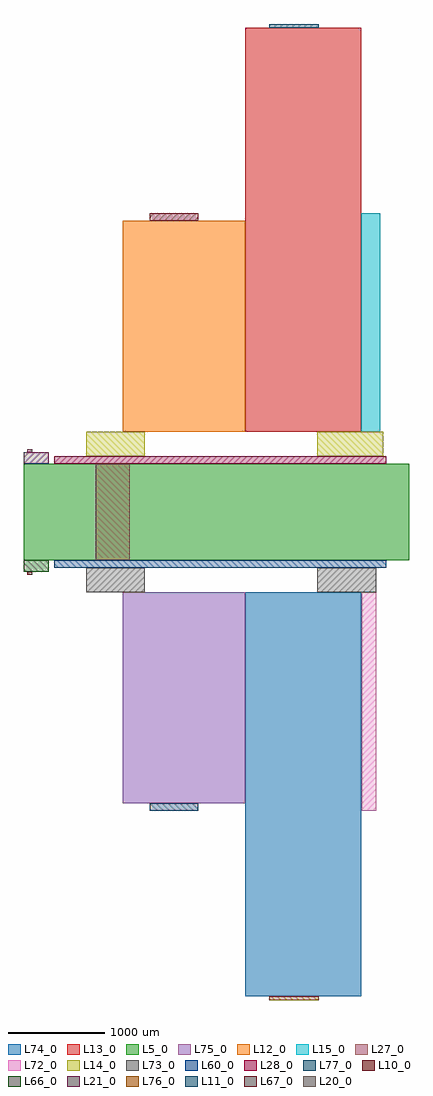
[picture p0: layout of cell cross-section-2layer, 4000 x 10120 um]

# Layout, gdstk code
import gdstk
lib = gdstk.Library(unit=1e-6, precision=1e-09)
def R(c, l, rs):  # rectangles x0, y0, x1, y1
    for r in rs: c.add(gdstk.rectangle(r[:2], r[2:], *l))
L5_0 = (5, 0)
L10_0 = (10, 0)
L11_0 = (11, 0)
L12_0 = (12, 0)
L13_0 = (13, 0)
L14_0 = (14, 0)
L15_0 = (15, 0)
L20_0 = (20, 0)
L21_0 = (21, 0)
L27_0 = (27, 0)
L28_0 = (28, 0)
L60_0 = (60, 0)
L66_0 = (66, 0)
L67_0 = (67, 0)
L72_0 = (72, 0)
L73_0 = (73, 0)
L74_0 = (74, 0)
L75_0 = (75, 0)
L76_0 = (76, 0)
L77_0 = (77, 0)

cross_section_2layer = lib.new_cell('cross-section-2layer')
R(cross_section_2layer, L5_0, [(0,-1000,4000,0)])
R(cross_section_2layer, L10_0, [(1308,2520,1810,2600)])
R(cross_section_2layer, L11_0, [(2548.3,4520,3060,4560)])
R(cross_section_2layer, L12_0, [(1030.25,330,2300,2520)])
R(cross_section_2layer, L13_0, [(2300,330,3500,4520)])
R(cross_section_2layer, L14_0, [(647.1,80,1257.1,330), (3047.1,80,3727.1,330)])
R(cross_section_2layer, L15_0, [(3500,330,3700,2600)])
R(cross_section_2layer, L20_0, [(40,120,89.95,150)])
R(cross_section_2layer, L21_0, [(0,0,260,120)])
R(cross_section_2layer, L27_0, [(750,-1000,1100,0)])
R(cross_section_2layer, L28_0, [(320,0,3760,80)])
R(cross_section_2layer, L60_0, [(320,-1080,3760,-1000)])
R(cross_section_2layer, L66_0, [(0,-1120,260,-1000)])
R(cross_section_2layer, L67_0, [(40,-1150,89.95,-1120)])
R(cross_section_2layer, L72_0, [(3507.1,-3596.2,3657.1,-1330)])
R(cross_section_2layer, L73_0, [(647.1,-1330,1257.1,-1080), (3047.1,-1330,3657.1,-1080)])
R(cross_section_2layer, L74_0, [(2300,-5520,3500,-1330)])
R(cross_section_2layer, L75_0, [(1030.25,-3520,2300,-1330)])
R(cross_section_2layer, L76_0, [(2548.3,-5560,3060,-5520)])
R(cross_section_2layer, L77_0, [(1308,-3600,1810,-3520)])

lib.write_gds('cross-section-2layer.gds')
